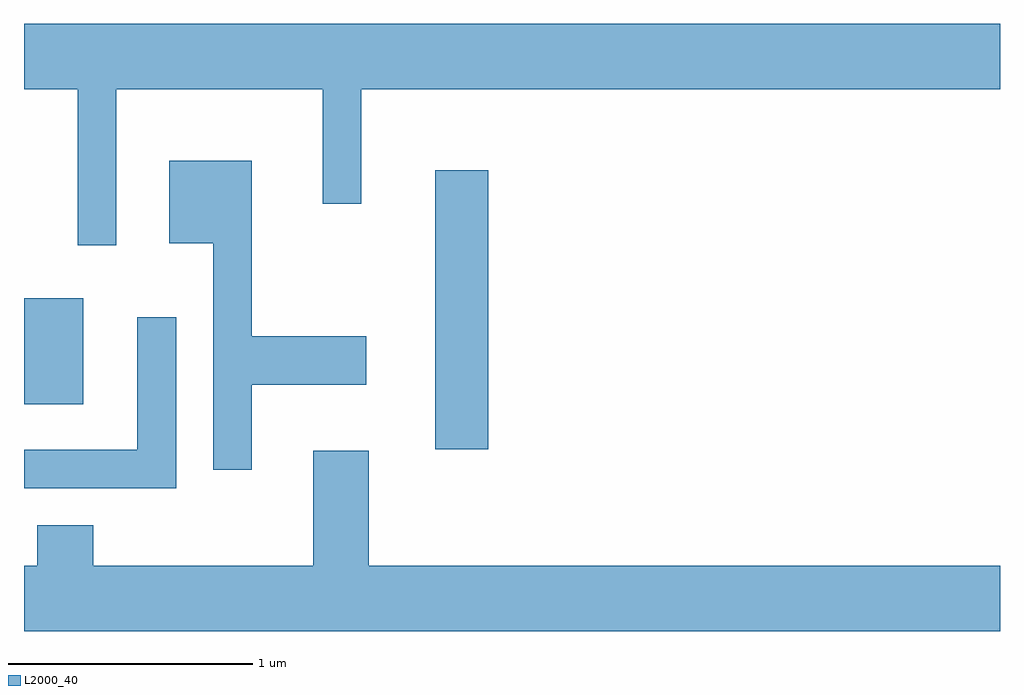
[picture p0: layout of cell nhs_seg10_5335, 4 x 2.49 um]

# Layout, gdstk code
import gdstk
lib = gdstk.Library(unit=1e-6, precision=1e-09)
def R(c, l, rs):  # rectangles x0, y0, x1, y1
    for r in rs: c.add(gdstk.rectangle(r[:2], r[2:], *l))
def P(c, l, *ps):  # polygons
    for p in ps: c.add(gdstk.Polygon(p, *l))
L2000_40 = (2000, 40)

nhs_seg10_5335 = lib.new_cell('nhs_seg10_5335')
R(nhs_seg10_5335, L2000_40, [(343.296,2190.141,343.514,2191.284), (341.611,2190.326,341.854,2190.759)])
P(nhs_seg10_5335, L2000_40, [(341.989,2191.616),(342.836,2191.616),(342.836,2191.148),(342.994,2191.148),(342.994,2191.616),(345.611,2191.616),(345.611,2191.884),(341.611,2191.884),(341.611,2191.616),(341.831,2191.616),(341.831,2190.978),(341.989,2190.978)],
  [(342.544,2190.406),(343.014,2190.406),(343.014,2190.604),(342.544,2190.604),(342.544,2191.324),(342.206,2191.324),(342.206,2190.986),(342.386,2190.986),(342.386,2190.058),(342.544,2190.058)],
  [(342.234,2190.683),(342.076,2190.683),(342.076,2190.139),(341.611,2190.139),(341.611,2189.981),(342.234,2189.981)],
  [(345.611,2189.664),(343.024,2189.664),(343.024,2190.134),(342.796,2190.134),(342.796,2189.664),(341.894,2189.664),(341.894,2189.829),(341.666,2189.829),(341.666,2189.664),(341.611,2189.664),(341.611,2189.396),(345.611,2189.396)])

lib.write_gds('nhs_seg10_5335.gds')
